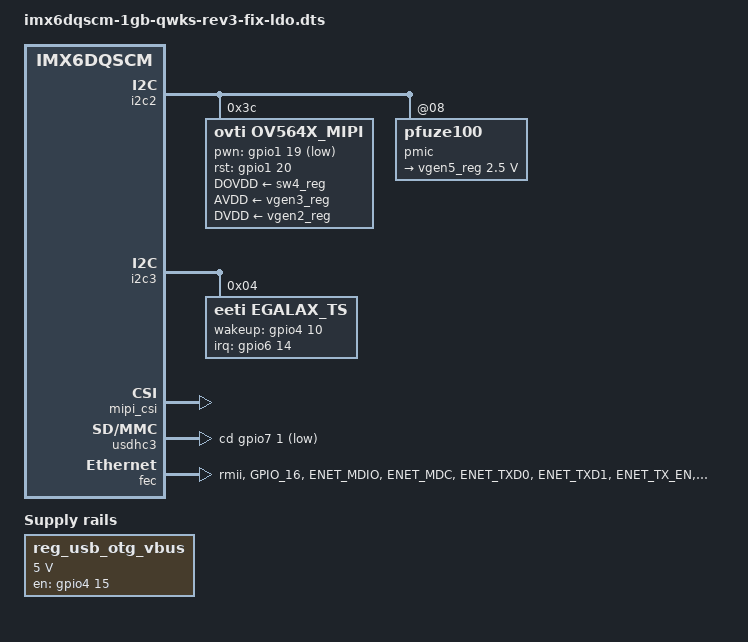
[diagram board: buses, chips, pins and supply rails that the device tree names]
/*
 * Copyright (C) 2016 Freescale Semiconductor, Inc.
 *
 * This program is free software; you can redistribute it and/or modify
 * it under the terms of the GNU General Public License version 2 as
 * published by the Free Software Foundation.
 */

#include "imx6dqscm-1gb-qwks-rev2-fix-ldo.dts"

/ {
	regulators {
		reg_usb_otg_vbus: regulator@0 {
			compatible = "regulator-fixed";
			reg = <0>;
			regulator-name = "usb_otg_vbus";
			regulator-min-microvolt = <5000000>;
			regulator-max-microvolt = <5000000>;
			gpio = <&gpio4 15 0>;
			enable-active-high;
		};
	};

	v4l2_cap_1 {
		compatible = "fsl,imx6q-v4l2-capture";
		ipu_id = <0>;
		csi_id = <1>;
		mclk_source = <0>;
		status = "okay";
	};
};

&i2c2 {
	ov564x_mipi: ov564x_mipi@3c {
		compatible = "ovti,ov564x_mipi";
		reg = <0x3c>;
		clocks = <&clks 201>;
		clock-names = "csi_mclk";
		DOVDD-supply = <&sw4_reg>;
		AVDD-supply = <&vgen3_reg>;
		DVDD-supply = <&vgen2_reg>;
		pwn-gpios = <&gpio1 19 1>;
		rst-gpios = <&gpio1 20 0>;
		csi_id = <1>;
		mclk = <24000000>;
		mclk_source = <0>;
		pinctrl-names = "default";
		pinctrl-0 = <&pinctrl_cam>;
	};

	pmic: pfuze100@08 {
		regulators {
			vgen5_reg: vgen5 {
				regulator-max-microvolt = <2500000>;
			};
		};
	};
};

&i2c3 {
	egalax_ts@04 {
		compatible = "eeti,egalax_ts";
		reg = <0x04>;
		pinctrl-names = "default";
		pinctrl-0 = <&pinctrl_i2c3_egalax_int>;
		interrupt-parent = <&gpio6>;
		interrupts = <14 0>;
		wakeup-gpios = <&gpio4 10 GPIO_ACTIVE_HIGH>;
	};
};

&mipi_csi {
	status = "okay";
	ipu_id = <0>;
	csi_id = <1>;
	v_channel = <0>;
	lanes = <2>;
};

&usdhc3 {
	cd-gpios = <&gpio7 1 GPIO_ACTIVE_LOW>;
};

&fec {
	pinctrl-names = "default";
	pinctrl-0 = <&pinctrl_enet>;
	phy-mode = "rmii";
	phy-reset-gpios = <&gpio5 12 0>;
	fsl,magic-packet;
	assigned-clocks = <&clks IMX6QDL_CLK_ENET_REF >;
	assigned-clock-rates = <50000000>;
	status = "okay";
};

&iomuxc {
	imx6dqscm-cam {
		pinctrl_cam: camgrp {
			fsl,pins = <
				MX6QDL_PAD_GPIO_0__CCM_CLKO1	0x130b0
				MX6QDL_PAD_SD1_CLK__GPIO1_IO20	0x13069
				MX6QDL_PAD_SD1_DAT2__GPIO1_IO19	0x13069
			>;
		};
	};

	imx6qdl-sabresd {
		pinctrl_usdhc3: usdhc3grp {
			fsl,pins = <
				MX6QDL_PAD_SD3_CMD__SD3_CMD	0x17059
				MX6QDL_PAD_SD3_CLK__SD3_CLK	0x10059
				MX6QDL_PAD_SD3_DAT0__SD3_DATA0	0x17059
				MX6QDL_PAD_SD3_DAT1__SD3_DATA1	0x17059
				MX6QDL_PAD_SD3_DAT2__SD3_DATA2	0x17059
				MX6QDL_PAD_SD3_DAT3__SD3_DATA3	0x17059
				MX6QDL_PAD_SD3_DAT4__GPIO7_IO01	0x80000000
			>;
		};

		pinctrl_i2c1: i2c1grp {
			fsl,pins = <
				MX6QDL_PAD_EIM_D28__I2C1_SDA  0x4001b8b1
				MX6QDL_PAD_EIM_D21__I2C1_SCL  0x4001b8b1
			>;
		};

		pinctrl_usbotg: usbotggrp {
			fsl,pins = <
				MX6QDL_PAD_GPIO_1__USB_OTG_ID		0x17059
				MX6QDL_PAD_KEY_ROW4__GPIO4_IO15		0x17059
			>;
		};
		pinctrl_enet: enetgrp {
			fsl,pins = <
				MX6QDL_PAD_GPIO_16__ENET_REF_CLK 0x4001b0a8
				MX6QDL_PAD_ENET_MDIO__ENET_MDIO  0x1b0b0
				MX6QDL_PAD_ENET_MDC__ENET_MDC    0x1b0b0
				MX6QDL_PAD_ENET_TXD0__ENET_TX_DATA0 0x1b0b0
				MX6QDL_PAD_ENET_TXD1__ENET_TX_DATA1 0x1b0b0
				MX6QDL_PAD_ENET_TX_EN__ENET_TX_EN   0x1b0b0
				MX6QDL_PAD_ENET_RX_ER__ENET_RX_ER   0x1b0b0
				MX6QDL_PAD_ENET_RXD0__ENET_RX_DATA0 0x1b0b0
				MX6QDL_PAD_ENET_RXD1__ENET_RX_DATA1 0x1b0b0
				MX6QDL_PAD_ENET_CRS_DV__ENET_RX_EN  0x1b0b0
			>;
		};
	};
};
